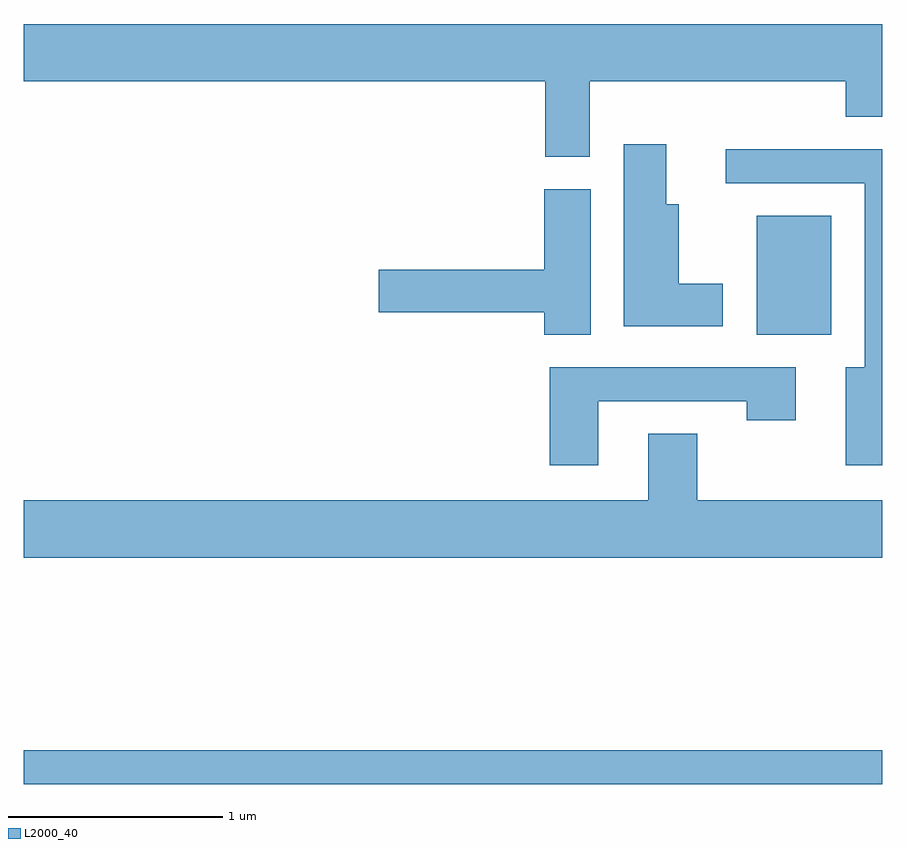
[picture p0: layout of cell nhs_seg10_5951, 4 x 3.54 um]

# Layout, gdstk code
import gdstk
lib = gdstk.Library(unit=1e-6, precision=1e-09)
def R(c, l, rs):  # rectangles x0, y0, x1, y1
    for r in rs: c.add(gdstk.rectangle(r[:2], r[2:], *l))
def P(c, l, *ps):  # polygons
    for p in ps: c.add(gdstk.Polygon(p, *l))
L2000_40 = (2000, 40)

nhs_seg10_5951 = lib.new_cell('nhs_seg10_5951')
R(nhs_seg10_5951, L2000_40, [(361.611,2092.881,365.611,2093.039), (365.026,2094.976,365.374,2095.529)])
P(nhs_seg10_5951, L2000_40, [(364.249,2096.156),(365.441,2096.156),(365.441,2095.991),(365.611,2095.991),(365.611,2096.424),(361.611,2096.424),(361.611,2096.156),(364.041,2096.156),(364.041,2095.806),(364.249,2095.806)],
  [(364.869,2095.214),(364.664,2095.214),(364.664,2095.584),(364.604,2095.584),(364.604,2095.864),(364.406,2095.864),(364.406,2095.016),(364.869,2095.016)],
  [(365.611,2095.839),(364.883,2095.839),(364.883,2095.681),(365.531,2095.681),(365.531,2094.824),(365.441,2094.824),(365.441,2094.366),(365.611,2094.366)],
  [(364.254,2095.654),(364.036,2095.654),(364.036,2095.279),(363.266,2095.279),(363.266,2095.081),(364.036,2095.081),(364.036,2094.976),(364.254,2094.976)],
  [(364.289,2094.666),(364.981,2094.666),(364.981,2094.576),(365.209,2094.576),(365.209,2094.824),(364.061,2094.824),(364.061,2094.366),(364.289,2094.366)],
  [(365.611,2094.204),(364.749,2094.204),(364.749,2094.514),(364.521,2094.514),(364.521,2094.204),(361.611,2094.204),(361.611,2093.936),(365.611,2093.936)])

lib.write_gds('nhs_seg10_5951.gds')
